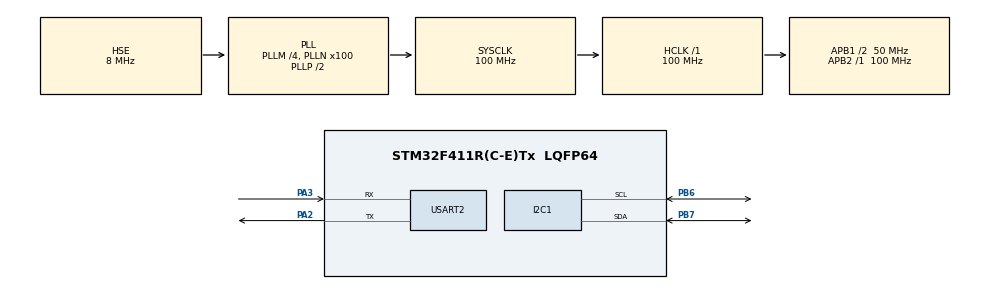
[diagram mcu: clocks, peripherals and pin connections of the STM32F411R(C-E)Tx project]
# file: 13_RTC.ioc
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Mcu.Family=STM32F4
Mcu.Name=STM32F411R(C-E)Tx
Mcu.Package=LQFP64
NVIC.PriorityGroup=NVIC_PRIORITYGROUP_4
NVIC.USART2_IRQn=true\:0\:0\:false\:false\:true\:true\:true\:true
PA13.Mode=Serial_Wire
PA13.Signal=SYS_JTMS-SWDIO
PA14.Mode=Serial_Wire
PA14.Signal=SYS_JTCK-SWCLK
PA2.Mode=Asynchronous
PA2.Signal=USART2_TX
PA3.Mode=Asynchronous
PA3.Signal=USART2_RX
PB6.Mode=I2C
PB6.Signal=I2C1_SCL
PB7.Mode=I2C
PB7.Signal=I2C1_SDA
PH0\ -\ OSC_IN.Mode=HSE-External-Oscillator
PH0\ -\ OSC_IN.Signal=RCC_OSC_IN
PH1\ -\ OSC_OUT.Mode=HSE-External-Oscillator
PH1\ -\ OSC_OUT.Signal=RCC_OSC_OUT
ProjectManager.HeapSize=0x200
ProjectManager.StackSize=0x400
ProjectManager.TargetToolchain=STM32CubeIDE
RCC.48MHZClocksFreq_Value=50000000
RCC.AHBFreq_Value=100000000
RCC.APB1CLKDivider=RCC_HCLK_DIV2
RCC.APB1Freq_Value=50000000
RCC.APB1TimFreq_Value=100000000
RCC.APB2Freq_Value=100000000
RCC.APB2TimFreq_Value=100000000
RCC.CortexFreq_Value=100000000
RCC.HCLKFreq_Value=100000000
RCC.HSE_VALUE=8000000
RCC.HSI_VALUE=16000000
RCC.LSE_VALUE=32768
RCC.PLLM=4
RCC.PLLN=100
RCC.PLLSourceVirtual=RCC_PLLSOURCE_HSE
RCC.SYSCLKFreq_VALUE=100000000
RCC.SYSCLKSource=RCC_SYSCLKSOURCE_PLLCLK
RCC.VCOOutputFreq_Value=200000000
USART2.VirtualMode=VM_ASYNC
VP_RTC_VS_RTC_Activate.Mode=RTC_Enabled
VP_RTC_VS_RTC_Calendar.Mode=RTC_Calendar
board=custom

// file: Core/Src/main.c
/* USER CODE BEGIN Header */
/**
 ******************************************************************************
 * @file           : main.c
 * @brief          : Main program body
 ******************************************************************************
 * @attention
 *
 * Copyright (c) 2025 STMicroelectronics.
 * All rights reserved.
 *
 * This software is licensed under terms that can be found in the LICENSE file
 * in the root directory of this software component.
 * If no LICENSE file comes with this software, it is provided AS-IS.
 *
 ******************************************************************************
 */
/* USER CODE END Header */
#include "main.h"
#include "i2c.h"
#include "rtc.h"
#include "usart.h"
#include "gpio.h"

/* USER CODE BEGIN Includes */

#include "stdio.h"
#include "string.h"
#include "I2C_LCD.h"

/* USER CODE END Includes */

/* USER CODE BEGIN PD */

#define BCD_TO_DEC(val) (((val >> 4) * 10) + (val & 0x0f))
#define DEC_TO_BCD(val) (((val / 10) << 4) | (val % 10))

/* USER CODE END PD */

/* USER CODE BEGIN PV */

RTC_TimeTypeDef rtcTime;
RTC_DateTypeDef rtcDate;

char temp[50];
char date[20];
char time[20];

uint8_t rxData;
uint8_t buffIndex = 0;
uint8_t buff[30];

/* USER CODE END PV */

void SystemClock_Config(void);
/* USER CODE BEGIN PFP */

void HAL_UART_RxCpltCallback(UART_HandleTypeDef *huart)
{
  if(huart->Instance == USART2)
    {
      // setDate251028\n
      // setTime100125\n
      if(rxData == '\n') // 수신된 데이터가 \n 라면
	{
	  buff[buffIndex] = 0; // NULL 문자 추가해서 문자열로 만듦
	  char *ptr;

	  if((ptr = strstr((char *)buff, "setTime")) != NULL)
	    {
	      // "setTime" 명령 다음의 숫자를 BCD 형태로 변환해서 시간 설정 setTime100125\n << 이걸 가져옴
	       // "0"을 뺀 이유 string -> decimal 타입 변환
	      rtcTime.Hours = ((*(ptr + 7) - '0') << 4) + (*(ptr + 8) - '0'); 	  // Hours 설정
	      rtcTime.Minutes = ((*(ptr + 9) - '0') << 4) + (*(ptr + 10) - '0');  // Minutes 설정
	      rtcTime.Seconds = ((*(ptr + 11) - '0') << 4) + (*(ptr + 12) - '0'); // Seconds 설정

	      HAL_RTC_SetTime(&hrtc, &rtcTime, RTC_FORMAT_BCD);
	    }
	  else if((ptr = strstr((char *)buff, "setDate")) != NULL)
	    {
	      rtcDate.Year = ((*(ptr + 7) - '0') << 4) + (*(ptr + 8) - '0');	  // Year 설정
	      rtcDate.Month = ((*(ptr + 7) - '0') << 4) + (*(ptr + 8) - '0');	  // Month 설정
	      rtcDate.Date = ((*(ptr + 7) - '0') << 4) + (*(ptr + 8) - '0');	  // Date 설정

	      HAL_RTC_SetDate(&hrtc, &rtcDate, RTC_FORMAT_BCD);
	    }
	  buffIndex = 0;
	}
      else  		// 수신된 데이터가 \n 아니면
	{

	  if(buffIndex < 30)
	    {
	      buff[buffIndex++] = rxData; // 버퍼에 데이터 추가
	    }
	}

      HAL_UART_Receive_IT(&huart2, &rxData, 1);
    }
}

/* USER CODE END PFP */

int main(void)
{

  /* MCU Configuration--------------------------------------------------------*/

  /* Reset of all peripherals, Initializes the Flash interface and the Systick. */
  HAL_Init();

  /* Configure the system clock */
  SystemClock_Config();

  /* Initialize all configured peripherals */
  MX_GPIO_Init();
  MX_USART2_UART_Init();
  MX_RTC_Init();
  MX_I2C1_Init();
  /* USER CODE BEGIN 2 */

  i2c_lcd_init();
  HAL_UART_Receive_IT(&huart2, &rxData, 1);

  /* USER CODE END 2 */

  /* Infinite loop */
  /* USER CODE BEGIN WHILE */
  while (1)
    {

      HAL_RTC_GetTime(&hrtc, &rtcTime, RTC_FORMAT_BCD); // RTC 포맷 타입은 BCD코드로 지정했기때문에 BCD로
      HAL_RTC_GetDate(&hrtc, &rtcDate, RTC_FORMAT_BCD); // 반드시 GetTime 먼저 작성 한 후 GetDate 작성하기

      sprintf(temp, "\r\n20%02x-%02x-%02x %02x:%02x:%02x",
	      rtcDate.Year,
	      rtcDate.Month,
	      rtcDate.Date,
	      rtcTime.Hours,
	      rtcTime.Minutes,
	      rtcTime.Seconds);

      move_cursor(0, 0);
      sprintf(date, "20%02x-%02x-%02x", rtcDate.Year, rtcDate.Month, rtcDate.Date);
      lcd_string(date);

      move_cursor(1, 0);
      sprintf(time, "%02x:%02x:%02x", rtcTime.Hours, rtcTime.Minutes, rtcTime.Seconds);
      lcd_string(time);

      HAL_UART_Transmit(&huart2, (uint8_t *)temp, strlen(temp), 10);

      HAL_Delay(1000);
    /* USER CODE END WHILE */

    }
}

void SystemClock_Config(void)
{
  RCC_OscInitTypeDef RCC_OscInitStruct = {0};
  RCC_ClkInitTypeDef RCC_ClkInitStruct = {0};

  /** Configure the main internal regulator output voltage
  */
  __HAL_RCC_PWR_CLK_ENABLE();
  __HAL_PWR_VOLTAGESCALING_CONFIG(PWR_REGULATOR_VOLTAGE_SCALE1);

  /** Initializes the RCC Oscillators according to the specified parameters
  * in the RCC_OscInitTypeDef structure.
  */
  RCC_OscInitStruct.OscillatorType = RCC_OSCILLATORTYPE_LSI|RCC_OSCILLATORTYPE_HSE;
  RCC_OscInitStruct.HSEState = RCC_HSE_ON;
  RCC_OscInitStruct.LSIState = RCC_LSI_ON;
  RCC_OscInitStruct.PLL.PLLState = RCC_PLL_ON;
  RCC_OscInitStruct.PLL.PLLSource = RCC_PLLSOURCE_HSE;
  RCC_OscInitStruct.PLL.PLLM = 4;
  RCC_OscInitStruct.PLL.PLLN = 100;
  RCC_OscInitStruct.PLL.PLLP = RCC_PLLP_DIV2;
  RCC_OscInitStruct.PLL.PLLQ = 4;
  if (HAL_RCC_OscConfig(&RCC_OscInitStruct) != HAL_OK)
  {
    Error_Handler();
  }

  /** Initializes the CPU, AHB and APB buses clocks
  */
  RCC_ClkInitStruct.ClockType = RCC_CLOCKTYPE_HCLK|RCC_CLOCKTYPE_SYSCLK
                              |RCC_CLOCKTYPE_PCLK1|RCC_CLOCKTYPE_PCLK2;
  RCC_ClkInitStruct.SYSCLKSource = RCC_SYSCLKSOURCE_PLLCLK;
  RCC_ClkInitStruct.AHBCLKDivider = RCC_SYSCLK_DIV1;
  RCC_ClkInitStruct.APB1CLKDivider = RCC_HCLK_DIV2;
  RCC_ClkInitStruct.APB2CLKDivider = RCC_HCLK_DIV1;

  if (HAL_RCC_ClockConfig(&RCC_ClkInitStruct, FLASH_LATENCY_3) != HAL_OK)
  {
    Error_Handler();
  }
}

void Error_Handler(void)
{
  __disable_irq();
  while (1)
    {
    }
}
